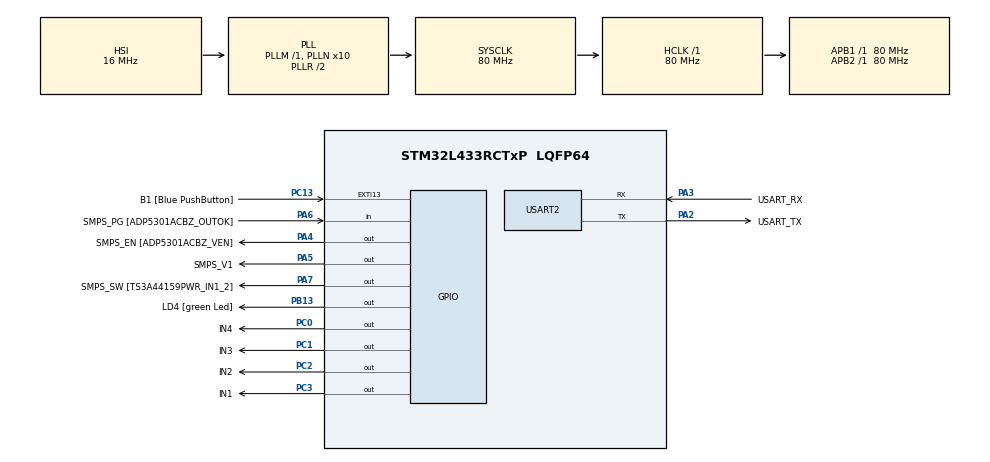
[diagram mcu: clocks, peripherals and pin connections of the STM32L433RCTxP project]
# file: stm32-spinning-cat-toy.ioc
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Mcu.Family=STM32L4
Mcu.Name=STM32L433RCTxP
Mcu.Package=LQFP64
NVIC.PriorityGroup=NVIC_PRIORITYGROUP_4
NVIC.TIM2_IRQn=true\:0\:0\:false\:false\:true\:true\:true\:true
PA13\ (JTMS-SWDIO).GPIO_Label=TMS
PA13\ (JTMS-SWDIO).Mode=Serial_Wire
PA13\ (JTMS-SWDIO).Signal=SYS_JTMS-SWDIO
PA14\ (JTCK-SWCLK).GPIO_Label=TCK
PA14\ (JTCK-SWCLK).Mode=Serial_Wire
PA14\ (JTCK-SWCLK).Signal=SYS_JTCK-SWCLK
PA2.GPIO_Label=USART_TX
PA2.GPIO_Mode=GPIO_MODE_AF_PP
PA2.GPIO_PuPd=GPIO_NOPULL
PA2.GPIO_Speed=GPIO_SPEED_FREQ_VERY_HIGH
PA2.Mode=Asynchronous
PA2.Signal=USART2_TX
PA3.GPIO_Label=USART_RX
PA3.GPIO_Mode=GPIO_MODE_AF_PP
PA3.GPIO_PuPd=GPIO_NOPULL
PA3.GPIO_Speed=GPIO_SPEED_FREQ_VERY_HIGH
PA3.Mode=Asynchronous
PA3.Signal=USART2_RX
PA4.GPIO_Label=SMPS_EN [ADP5301ACBZ_VEN]
PA4.Signal=GPIO_Output
PA5.GPIO_Label=SMPS_V1
PA5.GPIO_ModeDefaultOutputPP=GPIO_MODE_OUTPUT_PP
PA5.GPIO_PuPd=GPIO_NOPULL
PA5.GPIO_Speed=GPIO_SPEED_FREQ_LOW
PA5.Signal=GPIO_Output
PA6.GPIO_Label=SMPS_PG [ADP5301ACBZ_OUTOK]
PA6.GPIO_PuPd=GPIO_PULLUP
PA6.Signal=GPIO_Input
PA7.GPIO_Label=SMPS_SW [TS3A44159PWR_IN1_2]
PA7.Signal=GPIO_Output
PB13.GPIO_Label=LD4 [green Led]
PB13.Signal=GPIO_Output
PB3\ (JTDO-TRACESWO).GPIO_Label=SWO
PB3\ (JTDO-TRACESWO).Signal=SYS_JTDO-SWO
PC0.GPIO_Label=IN4
PC0.Signal=GPIO_Output
PC1.GPIO_Label=IN3
PC1.Signal=GPIO_Output
PC13.GPIO_Label=B1 [Blue PushButton]
PC13.GPIO_ModeDefaultEXTI=GPIO_MODE_IT_FALLING
PC13.GPIO_PuPd=GPIO_NOPULL
PC13.Signal=GPXTI13
PC14-OSC32_IN\ (PC14).Mode=LSE-External-Oscillator
PC14-OSC32_IN\ (PC14).Signal=RCC_OSC32_IN
PC15-OSC32_OUT\ (PC15).Mode=LSE-External-Oscillator
PC15-OSC32_OUT\ (PC15).Signal=RCC_OSC32_OUT
PC2.GPIO_Label=IN2
PC2.Signal=GPIO_Output
PC3.GPIO_Label=IN1
PC3.Signal=GPIO_Output
PH0-OSC_IN\ (PH0).GPIO_Label=MCO
PH0-OSC_IN\ (PH0).Mode=HSE-External-Clock-Source
PH0-OSC_IN\ (PH0).Signal=RCC_OSC_IN
PH1-OSC_OUT\ (PH1).Signal=RCC_OSC_OUT
ProjectManager.HeapSize=0x200
ProjectManager.StackSize=0x400
ProjectManager.TargetToolchain=STM32CubeIDE
RCC.ADCFreq_Value=64000000
RCC.AHBFreq_Value=80000000
RCC.APB1Freq_Value=80000000
RCC.APB1TimFreq_Value=80000000
RCC.APB2Freq_Value=80000000
RCC.APB2TimFreq_Value=80000000
RCC.CortexFreq_Value=80000000
RCC.HCLKFreq_Value=80000000
RCC.HSE_VALUE=8000000
RCC.HSI48_VALUE=48000000
RCC.HSI_VALUE=16000000
RCC.MSI_VALUE=4000000
RCC.PLLN=10
RCC.PLLSourceVirtual=RCC_PLLSOURCE_HSI
RCC.PREFETCH_ENABLE=1
RCC.SYSCLKFreq_VALUE=80000000
RCC.SYSCLKSource=RCC_SYSCLKSOURCE_PLLCLK
RCC.USBFreq_Value=64000000
RCC.VCOOutputFreq_Value=160000000
TIM2.Period=1999
TIM2.Prescaler=79
USART2.VirtualMode-Asynchronous=VM_ASYNC
VP_TIM2_VS_ClockSourceINT.Mode=Internal
board=NUCLEO-L433RC-P

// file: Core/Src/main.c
/* USER CODE BEGIN Header */
/**
 ******************************************************************************
 * @file           : main.c
 * @brief          : Main program body
 ******************************************************************************
 * @attention
 *
 * Copyright (c) 2026 STMicroelectronics.
 * All rights reserved.
 *
 * This software is licensed under terms that can be found in the LICENSE file
 * in the root directory of this software component.
 * If no LICENSE file comes with this software, it is provided AS-IS.
 *
 ******************************************************************************
 */
/* USER CODE END Header */
#include "main.h"

/* USER CODE BEGIN PD */
typedef enum{
	MODE_WAIT, MODE_TEASE, MODE_CHASE, MODE_FULL_LAP
}Toystate_t;
typedef struct{
	Toystate_t *steps;
	uint8_t sequence_length;
}ToySequenceController_t;
/* USER CODE END PD */

TIM_HandleTypeDef htim2;

UART_HandleTypeDef huart2;

/* USER CODE BEGIN PV */

const uint8_t half_step_seq[8] = { 0b0001, 0b0011, 0b0010, 0b0110, 0b0100,
		0b1100, 0b1000, 0b1001 };
//4 premade sequences from my statemachine
Toystate_t sequence_1[] = { MODE_WAIT, MODE_TEASE, MODE_CHASE, MODE_WAIT }; //4 steps
Toystate_t sequence_2[] = { MODE_TEASE, MODE_TEASE, MODE_FULL_LAP, MODE_WAIT }; //4 steps
Toystate_t sequence_3[] = { MODE_CHASE, MODE_WAIT, MODE_CHASE, MODE_WAIT }; //4 steps
Toystate_t sequence_4[] = { MODE_FULL_LAP, MODE_FULL_LAP, MODE_TEASE, MODE_CHASE,
		MODE_WAIT };   //5 steps
//map of seq with given amount of steps
ToySequenceController_t all_sequences[] = {
		{ sequence_1, 4 },
		{ sequence_2, 4 },
		{ sequence_3, 4 },
		{ sequence_4, 5 }
};

int current_seq = 0;
int current_seq_index = 0;
int step_motor_index = 0;

const int stepsPerRotation = 4096;
int current_motor_position = 0;
int target_motor_position = 0;
/* USER CODE END PV */

void SystemClock_Config(void);
static void MX_GPIO_Init(void);
static void MX_USART2_UART_Init(void);
static void MX_TIM2_Init(void);

/* USER CODE BEGIN 0 */

//Sets current_seq to a new seq were it cant be the same as last
void preform_next_seq() {
	uint8_t last_seq = current_seq;
	do {
		current_seq = (HAL_GetTick() % (sizeof(all_sequences) / sizeof(all_sequences[0])));
	} while (last_seq == current_seq);

}

void HAL_TIM_PeriodElapsedCallback(TIM_HandleTypeDef *htim) {

	if (htim->Instance == TIM2) {

		if (current_motor_position < target_motor_position) {
			step_motor_index++;
			current_motor_position++;
		} else if (current_motor_position > target_motor_position) {
			step_motor_index--;
			current_motor_position--;
		} else {
			GPIOC->ODR = (GPIOC->ODR & 0xFFF0);
			target_motor_position = 0;
			current_motor_position = 0;
			return;
		}

		if (step_motor_index >= 8)
			step_motor_index = 0;
		if (step_motor_index < 0)
			step_motor_index = 7;

		//write to only pins 0,1,2,3
		GPIOC->ODR = (GPIOC->ODR & 0xFFF0) | half_step_seq[step_motor_index];
	}
}
void motor_step(int step_amount) {
	target_motor_position = step_amount;
	while (current_motor_position != target_motor_position) {
	};
}
/* USER CODE END 0 */

int main(void)
{

  /* MCU Configuration--------------------------------------------------------*/

  /* Reset of all peripherals, Initializes the Flash interface and the Systick. */
  HAL_Init();

  /* Configure the system clock */
  SystemClock_Config();

  /* Initialize all configured peripherals */
  MX_GPIO_Init();
  MX_USART2_UART_Init();
  MX_TIM2_Init();
  /* USER CODE BEGIN 2 */
	HAL_TIM_Base_Start_IT(&htim2);

  /* USER CODE END 2 */

  /* Infinite loop */
  /* USER CODE BEGIN WHILE */
	TIM2->ARR = 1000; //Fast
//  TIM2->ARR = 2000; //Slow
	while (1) {
		current_seq = all_sequences[current_seq].steps[current_seq_index];

		switch (current_seq) {
		case MODE_WAIT:
			HAL_Delay(4000);
			break;
		case MODE_TEASE:
			for (int var = 0; var < 4; ++var) {
				if(var%2)
				motor_step(400);
				else motor_step(-400);
			}
			break;
		case MODE_CHASE:
			if(HAL_GetTick() % 2){
				motor_step(700);
			}else{
				motor_step(-700);
			}
			break;
		case MODE_FULL_LAP:
			motor_step(stepsPerRotation);
			break;
		}
		current_seq_index++;

		if (current_seq_index >= all_sequences[current_seq].sequence_length) {
			current_seq_index = 0;
			preform_next_seq();
		}
    /* USER CODE END WHILE */

	}
}

void SystemClock_Config(void)
{
  RCC_OscInitTypeDef RCC_OscInitStruct = {0};
  RCC_ClkInitTypeDef RCC_ClkInitStruct = {0};

  /** Configure the main internal regulator output voltage
  */
  if (HAL_PWREx_ControlVoltageScaling(PWR_REGULATOR_VOLTAGE_SCALE1) != HAL_OK)
  {
    Error_Handler();
  }

  /** Initializes the RCC Oscillators according to the specified parameters
  * in the RCC_OscInitTypeDef structure.
  */
  RCC_OscInitStruct.OscillatorType = RCC_OSCILLATORTYPE_HSI;
  RCC_OscInitStruct.HSIState = RCC_HSI_ON;
  RCC_OscInitStruct.HSICalibrationValue = RCC_HSICALIBRATION_DEFAULT;
  RCC_OscInitStruct.PLL.PLLState = RCC_PLL_ON;
  RCC_OscInitStruct.PLL.PLLSource = RCC_PLLSOURCE_HSI;
  RCC_OscInitStruct.PLL.PLLM = 1;
  RCC_OscInitStruct.PLL.PLLN = 10;
  RCC_OscInitStruct.PLL.PLLP = RCC_PLLP_DIV7;
  RCC_OscInitStruct.PLL.PLLQ = RCC_PLLQ_DIV2;
  RCC_OscInitStruct.PLL.PLLR = RCC_PLLR_DIV2;
  if (HAL_RCC_OscConfig(&RCC_OscInitStruct) != HAL_OK)
  {
    Error_Handler();
  }

  /** Initializes the CPU, AHB and APB buses clocks
  */
  RCC_ClkInitStruct.ClockType = RCC_CLOCKTYPE_HCLK|RCC_CLOCKTYPE_SYSCLK
                              |RCC_CLOCKTYPE_PCLK1|RCC_CLOCKTYPE_PCLK2;
  RCC_ClkInitStruct.SYSCLKSource = RCC_SYSCLKSOURCE_PLLCLK;
  RCC_ClkInitStruct.AHBCLKDivider = RCC_SYSCLK_DIV1;
  RCC_ClkInitStruct.APB1CLKDivider = RCC_HCLK_DIV1;
  RCC_ClkInitStruct.APB2CLKDivider = RCC_HCLK_DIV1;

  if (HAL_RCC_ClockConfig(&RCC_ClkInitStruct, FLASH_LATENCY_4) != HAL_OK)
  {
    Error_Handler();
  }
}

static void MX_TIM2_Init(void)
{

  TIM_ClockConfigTypeDef sClockSourceConfig = {0};
  TIM_MasterConfigTypeDef sMasterConfig = {0};

  htim2.Instance = TIM2;
  htim2.Init.Prescaler = 79;
  htim2.Init.CounterMode = TIM_COUNTERMODE_UP;
  htim2.Init.Period = 1999;
  htim2.Init.ClockDivision = TIM_CLOCKDIVISION_DIV1;
  htim2.Init.AutoReloadPreload = TIM_AUTORELOAD_PRELOAD_DISABLE;
  if (HAL_TIM_Base_Init(&htim2) != HAL_OK)
  {
    Error_Handler();
  }
  sClockSourceConfig.ClockSource = TIM_CLOCKSOURCE_INTERNAL;
  if (HAL_TIM_ConfigClockSource(&htim2, &sClockSourceConfig) != HAL_OK)
  {
    Error_Handler();
  }
  sMasterConfig.MasterOutputTrigger = TIM_TRGO_RESET;
  sMasterConfig.MasterSlaveMode = TIM_MASTERSLAVEMODE_DISABLE;
  if (HAL_TIMEx_MasterConfigSynchronization(&htim2, &sMasterConfig) != HAL_OK)
  {
    Error_Handler();
  }

}

static void MX_USART2_UART_Init(void)
{

  huart2.Instance = USART2;
  huart2.Init.BaudRate = 115200;
  huart2.Init.WordLength = UART_WORDLENGTH_8B;
  huart2.Init.StopBits = UART_STOPBITS_1;
  huart2.Init.Parity = UART_PARITY_NONE;
  huart2.Init.Mode = UART_MODE_TX_RX;
  huart2.Init.HwFlowCtl = UART_HWCONTROL_NONE;
  huart2.Init.OverSampling = UART_OVERSAMPLING_16;
  huart2.Init.OneBitSampling = UART_ONE_BIT_SAMPLE_DISABLE;
  huart2.AdvancedInit.AdvFeatureInit = UART_ADVFEATURE_NO_INIT;
  if (HAL_UART_Init(&huart2) != HAL_OK)
  {
    Error_Handler();
  }

}

static void MX_GPIO_Init(void)
{
  GPIO_InitTypeDef GPIO_InitStruct = {0};

  /* GPIO Ports Clock Enable */
  __HAL_RCC_GPIOC_CLK_ENABLE();
  __HAL_RCC_GPIOH_CLK_ENABLE();
  __HAL_RCC_GPIOA_CLK_ENABLE();
  __HAL_RCC_GPIOB_CLK_ENABLE();

  /*Configure GPIO pin Output Level */
  HAL_GPIO_WritePin(GPIOC, IN4_Pin|IN3_Pin|IN2_Pin|IN1_Pin, GPIO_PIN_RESET);

  /*Configure GPIO pin Output Level */
  HAL_GPIO_WritePin(GPIOA, SMPS_EN_Pin|SMPS_V1_Pin|SMPS_SW_Pin, GPIO_PIN_RESET);

  /*Configure GPIO pin Output Level */
  HAL_GPIO_WritePin(LD4_GPIO_Port, LD4_Pin, GPIO_PIN_RESET);

  /*Configure GPIO pin : B1_Pin */
  GPIO_InitStruct.Pin = B1_Pin;
  GPIO_InitStruct.Mode = GPIO_MODE_IT_FALLING;
  GPIO_InitStruct.Pull = GPIO_NOPULL;
  HAL_GPIO_Init(B1_GPIO_Port, &GPIO_InitStruct);

  /*Configure GPIO pins : IN4_Pin IN3_Pin IN2_Pin IN1_Pin */
  GPIO_InitStruct.Pin = IN4_Pin|IN3_Pin|IN2_Pin|IN1_Pin;
  GPIO_InitStruct.Mode = GPIO_MODE_OUTPUT_PP;
  GPIO_InitStruct.Pull = GPIO_NOPULL;
  GPIO_InitStruct.Speed = GPIO_SPEED_FREQ_LOW;
  HAL_GPIO_Init(GPIOC, &GPIO_InitStruct);

  /*Configure GPIO pins : SMPS_EN_Pin SMPS_V1_Pin SMPS_SW_Pin */
  GPIO_InitStruct.Pin = SMPS_EN_Pin|SMPS_V1_Pin|SMPS_SW_Pin;
  GPIO_InitStruct.Mode = GPIO_MODE_OUTPUT_PP;
  GPIO_InitStruct.Pull = GPIO_NOPULL;
  GPIO_InitStruct.Speed = GPIO_SPEED_FREQ_LOW;
  HAL_GPIO_Init(GPIOA, &GPIO_InitStruct);

  /*Configure GPIO pin : SMPS_PG_Pin */
  GPIO_InitStruct.Pin = SMPS_PG_Pin;
  GPIO_InitStruct.Mode = GPIO_MODE_INPUT;
  GPIO_InitStruct.Pull = GPIO_PULLUP;
  HAL_GPIO_Init(SMPS_PG_GPIO_Port, &GPIO_InitStruct);

  /*Configure GPIO pin : LD4_Pin */
  GPIO_InitStruct.Pin = LD4_Pin;
  GPIO_InitStruct.Mode = GPIO_MODE_OUTPUT_PP;
  GPIO_InitStruct.Pull = GPIO_NOPULL;
  GPIO_InitStruct.Speed = GPIO_SPEED_FREQ_LOW;
  HAL_GPIO_Init(LD4_GPIO_Port, &GPIO_InitStruct);

}

void Error_Handler(void)
{
	__disable_irq();
	while (1) {
	}
}
